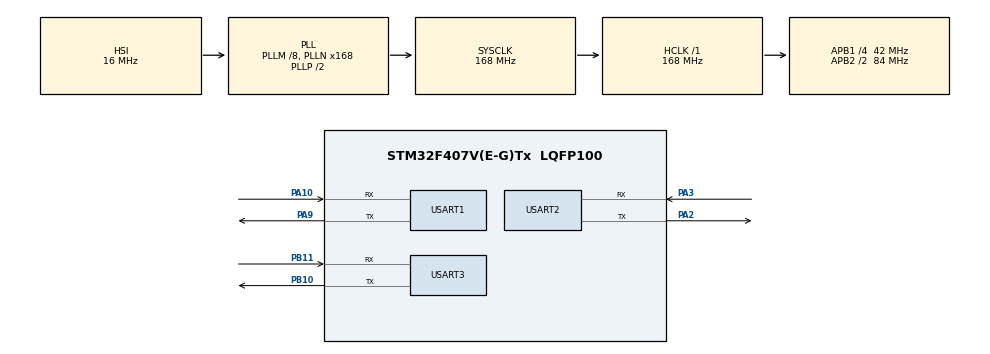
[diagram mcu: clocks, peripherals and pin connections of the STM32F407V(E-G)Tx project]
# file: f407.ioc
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Dma.Request0=USART3_RX
Dma.Request1=USART3_TX
Dma.Request2=USART1_RX
Dma.Request3=USART1_TX
Dma.USART1_RX.2.Direction=DMA_PERIPH_TO_MEMORY
Dma.USART1_RX.2.FIFOMode=DMA_FIFOMODE_DISABLE
Dma.USART1_RX.2.Instance=DMA2_Stream2
Dma.USART1_RX.2.MemDataAlignment=DMA_MDATAALIGN_BYTE
Dma.USART1_RX.2.MemInc=DMA_MINC_ENABLE
Dma.USART1_RX.2.Mode=DMA_NORMAL
Dma.USART1_RX.2.PeriphDataAlignment=DMA_PDATAALIGN_BYTE
Dma.USART1_RX.2.PeriphInc=DMA_PINC_DISABLE
Dma.USART1_RX.2.Priority=DMA_PRIORITY_LOW
Dma.USART1_TX.3.Direction=DMA_MEMORY_TO_PERIPH
Dma.USART1_TX.3.FIFOMode=DMA_FIFOMODE_DISABLE
Dma.USART1_TX.3.Instance=DMA2_Stream7
Dma.USART1_TX.3.MemDataAlignment=DMA_MDATAALIGN_BYTE
Dma.USART1_TX.3.MemInc=DMA_MINC_ENABLE
Dma.USART1_TX.3.Mode=DMA_NORMAL
Dma.USART1_TX.3.PeriphDataAlignment=DMA_PDATAALIGN_BYTE
Dma.USART1_TX.3.PeriphInc=DMA_PINC_DISABLE
Dma.USART1_TX.3.Priority=DMA_PRIORITY_LOW
Dma.USART3_RX.0.Direction=DMA_PERIPH_TO_MEMORY
Dma.USART3_RX.0.FIFOMode=DMA_FIFOMODE_DISABLE
Dma.USART3_RX.0.Instance=DMA1_Stream1
Dma.USART3_RX.0.MemDataAlignment=DMA_MDATAALIGN_BYTE
Dma.USART3_RX.0.MemInc=DMA_MINC_ENABLE
Dma.USART3_RX.0.Mode=DMA_CIRCULAR
Dma.USART3_RX.0.PeriphDataAlignment=DMA_PDATAALIGN_BYTE
Dma.USART3_RX.0.PeriphInc=DMA_PINC_DISABLE
Dma.USART3_RX.0.Priority=DMA_PRIORITY_HIGH
Dma.USART3_TX.1.Direction=DMA_MEMORY_TO_PERIPH
Dma.USART3_TX.1.FIFOMode=DMA_FIFOMODE_DISABLE
Dma.USART3_TX.1.Instance=DMA1_Stream3
Dma.USART3_TX.1.MemDataAlignment=DMA_MDATAALIGN_BYTE
Dma.USART3_TX.1.MemInc=DMA_MINC_ENABLE
Dma.USART3_TX.1.Mode=DMA_NORMAL
Dma.USART3_TX.1.PeriphDataAlignment=DMA_PDATAALIGN_BYTE
Dma.USART3_TX.1.PeriphInc=DMA_PINC_DISABLE
Dma.USART3_TX.1.Priority=DMA_PRIORITY_HIGH
Mcu.Family=STM32F4
Mcu.Name=STM32F407V(E-G)Tx
Mcu.Package=LQFP100
NVIC.DMA1_Stream1_IRQn=true\:0\:0\:false\:false\:true\:false\:true\:true
NVIC.DMA1_Stream3_IRQn=true\:0\:0\:false\:false\:true\:false\:true\:true
NVIC.DMA2_Stream2_IRQn=true\:0\:0\:false\:false\:true\:false\:true\:true
NVIC.DMA2_Stream7_IRQn=true\:0\:0\:false\:false\:true\:false\:true\:true
NVIC.PriorityGroup=NVIC_PRIORITYGROUP_4
NVIC.TIM6_DAC_IRQn=true\:0\:0\:false\:false\:true\:true\:true\:true
NVIC.USART1_IRQn=true\:0\:0\:false\:false\:true\:true\:true\:true
NVIC.USART3_IRQn=true\:0\:0\:false\:false\:true\:true\:true\:true
PA10.Mode=Asynchronous
PA10.Signal=USART1_RX
PA13.Mode=Serial_Wire
PA13.Signal=SYS_JTMS-SWDIO
PA14.Mode=Serial_Wire
PA14.Signal=SYS_JTCK-SWCLK
PA2.Mode=Asynchronous
PA2.Signal=USART2_TX
PA3.Mode=Asynchronous
PA3.Signal=USART2_RX
PA9.Mode=Asynchronous
PA9.Signal=USART1_TX
PB10.Mode=Asynchronous
PB10.Signal=USART3_TX
PB11.Mode=Asynchronous
PB11.Signal=USART3_RX
ProjectManager.HeapSize=0x200
ProjectManager.StackSize=0x400
ProjectManager.TargetToolchain=STM32CubeIDE
RCC.48MHZClocksFreq_Value=84000000
RCC.AHBFreq_Value=168000000
RCC.APB1CLKDivider=RCC_HCLK_DIV4
RCC.APB1Freq_Value=42000000
RCC.APB1TimFreq_Value=84000000
RCC.APB2CLKDivider=RCC_HCLK_DIV2
RCC.APB2Freq_Value=84000000
RCC.APB2TimFreq_Value=168000000
RCC.CortexFreq_Value=168000000
RCC.HCLKFreq_Value=168000000
RCC.HSE_VALUE=25000000
RCC.HSI_VALUE=16000000
RCC.LSE_VALUE=32768
RCC.PLLM=8
RCC.PLLN=168
RCC.SYSCLKFreq_VALUE=168000000
RCC.SYSCLKSource=RCC_SYSCLKSOURCE_PLLCLK
RCC.VCOOutputFreq_Value=336000000
TIM6.Period=10000-1
TIM6.Prescaler=84-1
USART1.VirtualMode=VM_ASYNC
USART2.VirtualMode=VM_ASYNC
USART3.VirtualMode=VM_ASYNC
VP_TIM6_VS_ClockSourceINT.Mode=Enable_Timer
board=custom

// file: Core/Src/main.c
/* USER CODE BEGIN Header */
/**
  ******************************************************************************
  * @file           : main.c
  * @brief          : Main program body
  ******************************************************************************
  * @attention
  *
  * Copyright (c) 2026 STMicroelectronics.
  * All rights reserved.
  *
  * This software is licensed under terms that can be found in the LICENSE file
  * in the root directory of this software component.
  * If no LICENSE file comes with this software, it is provided AS-IS.
  *
  ******************************************************************************
  */
/* USER CODE END Header */
#include "main.h"
#include "dma.h"
#include "tim.h"
#include "usart.h"
#include "gpio.h"

/* USER CODE BEGIN Includes */
#include <string.h>
#include <stdlib.h>
#include "vision_protocol.h"
#include "emm_v5.h"
#include "oled.h"
#include "ball_control.h"
/* USER CODE END Includes */

/* USER CODE BEGIN PD */
#define EMM_VEL_RPM         20U     /* 位置模式转速：20 RPM ≈ 1067 脉冲/s */
#define TARGET_TUBE_MM      0      /* 目标位置：0 = 管子中心（= K230 屏上的 0cm） */
#define VISION_MM_OFFSET    -117   /* 视觉读数补偿(mm)：CX = K230读数 + 这个值。
                                     * 2026-11-08 重新标零后，K230 屏上从 "1~25cm" 变成
                                     * "-12~+12cm"，但串口发出来的还是 0~240 的绝对量。
                                     * 减 120 之后，CX 就和 K230 屏上的数一一对应（单位 mm）：
                                     * 左端 -120、中心 0、右端 +120。
                                     * 实测：左端 CX 144、0处 260、右端 367（偏移 +144 时），
                                     * 反推原始值 0 / 116 / 223，减 120 即得上面的值。
                                     * 用 -120 时球在中间读 -3，再补 3 得到 -117，中间读 0。 */
#define MOTOR_ENABLE        1      /* 0=只看不动（先验数据）；1=真闭环 */
#define MOTOR_DIR_INVERT    0       /* 极性开关。目前实测：正命令 -> 球往 +mm 走，
                                     * 与 ball_control.c 里 PD 项的符号一致，所以保持 0。
                                     * 要反转极性只改这一个宏（或 ball_control.c 里
                                     * command 最后的符号），不要在中间偷偷取反。 */
#define VISION_TIMEOUT_MS   300U    /* 超过这么久没帧，就把平台放平 */
#define DEBUG_REFRESH_MS    200U    /* 调试刷屏周期(ms)，5 Hz */
#define MOTOR_CALIB         0       /* 1=标定模式：把当前姿态存成驱动器零点（只做一次） */
#define MOTOR_TEST_ANGLE    0       /* 非0=开环测试：忽略视觉，平台直接停到这个角度(脉冲，可负) */
#define MOTOR_SWEEP         0       /* 1=开环扫角：0→151→0→-151 循环，测满行程到底能不能把球推动 */
#define OLED_ENABLE         1       /* 0=关掉屏幕刷新（每次要阻塞 25ms，会拖慢控制）；1=开 */
/* USER CODE END PD */

/* USER CODE BEGIN PV */
static ballcontrol ctrl;                                /* 控制器全部状态，全局一份 */
static int32_t     current_angle_pulses = 0;            /* 已下发的绝对角度（脉冲） */
static float       target_tube_mm       = (float)TARGET_TUBE_MM; /* 目标位置(mm) */
/* 位置模式转速，上位机 MOTORRPM= 可在线改。
 * 20 RPM 时平台从 +120 转到 -120 要 4.6 秒，而球穿过整根管子只要 1.5 秒，
 * 刹车指令物理上来不及 —— 这是"怎么调都是极限环"的一个硬瓶颈。
 * 先给 60 RPM 试试（3200 脉冲/s），还嫌慢可以再往上加。 */
static float       host_motor_rpm       = 60.0f;
static uint32_t    last_frame_tick      = 0;            /* 最近一次收到有效帧的时刻 */
#if OLED_ENABLE
static uint32_t    debug_tick           = 0;            /* 调试刷屏计时 */
#endif
static uint32_t    vision_frames        = 0;            /* 已收帧数，用来判断 K230 通没通 */
static uint32_t    ctrl_frames          = 0;            /* 真正进了控制器的帧数，FPS 命令用它算控制频率 */
static bool        vision_lost          = true;         /* 是否已经进过超时保护 */
/* USER CODE END PV */

void SystemClock_Config(void);

/* USER CODE BEGIN 0 */
/* 把控制器算出的角度真正发给电机。
 * MOTOR_ENABLE=0 时只记账不发指令，方便先验数据：屏上的 A 仍然跟着算出的角度走，
 * 但电机不动，球不会飞出去。 */
static void Platform_MoveTo(int32_t angle)
{
    int32_t delta = angle - current_angle_pulses;

    if (delta == 0) return;

#if MOTOR_ENABLE
    /* 方向极性：正角度 = dir 0。上板推一下球就知道对不对：
     * 球被拉回来 -> 对的；球越跑越远 -> 把 MOTOR_DIR_INVERT 改成 1 */
    uint8_t dir = (delta > 0) ? 0U : 1U;
#if MOTOR_DIR_INVERT
    dir ^= 1U;
#endif

    uint16_t vel = (uint16_t)((host_motor_rpm < 1.0f) ? 1.0f : host_motor_rpm);
    Emm_V5_Pos_Control(EMM_ADDR, dir, vel, 0,
                       (uint32_t)((delta > 0) ? delta : -delta), false, false);
#endif

    current_angle_pulses = angle;
}

/* 调试显示：128x64 用 12x16 的字最多放 4 行，只挑最关键的 4 个量 */
#if OLED_ENABLE
static void Debug_UpdateDisplay(void)
{
    OLED_Clear();

    OLED_ShowString2x(0, 0, "CX");      /* 滤波后的球位置(mm)，控制用的就是它 */
    OLED_ShowNum2x(0, 48, (int32_t)ctrl.position, 4);

    OLED_ShowString2x(2, 0, "TG");      /* 目标位置(mm) */
    OLED_ShowNum2x(2, 48, (int32_t)target_tube_mm, 4);

    OLED_ShowString2x(4, 0, "A");       /* 控制器算出的平台角度（脉冲） */
    OLED_ShowNum2x(4, 48, current_angle_pulses, 4);

    OLED_ShowString2x(6, 0, "V");       /* 球速(mm/s)，调参时看这个判断是不是冲过头 */
    OLED_ShowNum2x(6, 48, (int32_t)ctrl.speed_filter, 4);

    OLED_Refresh();
}
#endif

#if MOTOR_CALIB
/* 把驱动器的应答翻译成一句人话：状态 0x02 = 成功，0xE2 = 条件不满足 */
static void Motor_ShowAck(const char *title, bool got_reply, uint8_t status)
{
    OLED_Clear();
    OLED_ShowString2x(0, 0, title);

    if (!got_reply)
    {
        OLED_ShowString2x(2, 0, "NO REPLY");
        OLED_ShowString2x(4, 0, "CHECK WIRE");
    }
    else if (status == 0x02U)
    {
        OLED_ShowString2x(2, 0, "OK");
    }
    else if (status == 0xE2U)
    {
        OLED_ShowString2x(2, 0, "FAILED");
        OLED_ShowString2x(4, 0, "COND FAIL");
    }
    else
    {
        OLED_ShowString2x(2, 0, "ERR CODE");
        OLED_ShowNum2x(4, 0, (int32_t)status, 3);
    }

    OLED_Refresh();
}
#endif

/* =====================================================================
 * 上位机调参链路（USART2，PA2=TX / PA3=RX，115200 8N1）
 * ---------------------------------------------------------------------
 * 接线：STM32 PA2 ──> USB-TTL 的 RX
 *       STM32 PA3 <── USB-TTL 的 TX
 *       GND      ────  GND（必须共地）
 *
 * 命令（一行一条，回车/换行结尾，不分大小写）：
 *   KP=0.8          改一个参数，立刻生效，不用重编译
 *   GET             打印全部参数
 *   RST             恢复上电默认值
 *   STREAM=0 / 1    关 / 开遥测（默认开）
 *   HELP            命令提示
 *
 * 遥测（每 50ms 一行）：
 *   POS,TG,ERR,ANG  —— 当前坐标 / 目标坐标 / 误差(mm) / 平台角度(脉冲÷100)
 * ===================================================================== */
#define HOST_TELEM_MS    50U
#define HOST_LINE_MAX    48U

static uint8_t       host_rx_byte;               /* 中断里收的单字节 */
static char          host_line[HOST_LINE_MAX];   /* 攒一整行 */
static uint8_t       host_len;
static volatile bool host_line_ready;
static bool          host_stream_on = true;      /* 遥测默认开 */
static uint32_t      host_telem_tick;

typedef struct { const char *name; float *p; } host_param_t;

static const host_param_t host_params[] =
{
    { "KP",       &ctrl_param.kp            },
    { "KV",       &ctrl_param.kv            },
    { "FRICTION", &ctrl_param.friction      },
    { "MAXSPEED", &ctrl_param.max_speed     },
    { "KI",       &ctrl_param.ki            },
    { "POSF",     &ctrl_param.pos_filter    },
    { "SPEEDF",   &ctrl_param.speed_filter  },
    { "ACCEL",    &ctrl_param.profile_accel },
    { "MAXMEAS",  &ctrl_param.max_measured  },
    { "V0",       &ctrl_param.friction_v0   },
    { "DEADBAND", &ctrl_param.deadband      },
    { "IMAX",     &ctrl_param.i_max         },
    { "ISPEED",   &ctrl_param.i_speed       },
    { "KICKMAX",  &ctrl_param.kick_max      },
    { "KICKRATE", &ctrl_param.kick_rate     },
    { "STUCKMS",  &ctrl_param.stuck_ms      },
    { "MOVEEPS",  &ctrl_param.move_eps      },
    { "LIMIT",    &ctrl_param.angle_limit   },
    { "MAXSTEP",  &ctrl_param.max_step      },
    { "LEVELOFF", &ctrl_param.level_offset  },
    /* ---- 省一参考控制器 ---- */
    { "MODE",     &ctrl_param.mode          },
    { "REFACC",   &ctrl_param.ref_accel     },
    { "BRAKEBST", &ctrl_param.brake_boost   },
    { "BRKEN",    &ctrl_param.brake_enter   },
    { "BRKEX",    &ctrl_param.brake_exit    },
    { "IZONE",    &ctrl_param.i_zone        },
    { "IZSPEED",  &ctrl_param.i_zone_speed  },
    { "CBAND",    &ctrl_param.center_band   },
    { "CSPEED",   &ctrl_param.center_speed  },
    { "XBAND",    &ctrl_param.settle_band   },
    { "XSPEED",   &ctrl_param.settle_speed  },
    { "OUTGAIN",  &ctrl_param.out_gain      },
    /* ---- 借鉴 2026-H-balance（默认全关）---- */
    { "KDL",      &ctrl_param.kdl           },
    { "KD2",      &ctrl_param.kd2           },
    { "ASYM",     &ctrl_param.asym          },
    { "PREA",     &ctrl_param.pre_angle     },
    { "PREMS",    &ctrl_param.pre_ms        },
    /* 电机位置模式转速(RPM)，不在 ctrl_param 里，单独一个变量 */
    { "MOTORRPM", &host_motor_rpm           },
    /* 目标位置(mm)，在线改，免得每次换目标都要重烧 */
    { "TARGET",   &target_tube_mm           },
};

#define HOST_PARAM_CNT  (sizeof(host_params) / sizeof(host_params[0]))

/* 遥测用阻塞发送。一行 25 字节 @115200 只要 2.2ms，占 50ms 周期的 4%，
 * 完全承受得起。
 *
 * 【曾经改成 HAL_UART_Transmit_IT 非阻塞，已经回退】当时怀疑主循环有
 * 100ms 级停顿是被阻塞遥测拖的，实测站不住脚：Emm_Send 最坏 30ms、
 * 遥测 2.2ms，加起来也凑不出 100ms。而中断发送一旦因溢出/错误丢掉完成
 * 回调，huart2.gState 会永远卡在 BUSY_TX，之后连 HAL_UART_Transmit 的
 * 命令应答都直接返回 HAL_BUSY——整块板子对上位机"变哑"。为了 2ms 冒
 * 断链的险不值得。 */
static char host_telem_buf[80];

static void Host_Send(const char *s)
{
    HAL_UART_Transmit(&huart2, (uint8_t *)s, (uint16_t)strlen(s), 20);
}

/* 发 "标签+十进制有符号数+CRLF"，给 FPS / POS 这类诊断命令用 */
static void Host_SendUInt(const char *tag, int32_t v)
{
    char b[32];
    char tmp[12];
    int  n = 0;
    int  i = 0;

    while (tag[i] != '\0' && i < 16) b[i] = tag[i], i++;

    if (v < 0)
    {
        b[i++] = '-';
        /* 取绝对值。注意 INT32_MIN 直接取负会溢出，先转成 uint32 再取负 */
        v = (int32_t)(0U - (uint32_t)v);
    }

    if (v == 0) tmp[n++] = '0';
    while (v > 0) { tmp[n++] = (char)('0' + (v % 10)); v /= 10; }
    while (n > 0 && i < 28) b[i++] = tmp[--n];

    b[i++] = '\r';
    b[i++] = '\n';
    b[i]   = '\0';
    Host_Send(b);
}

/* 【必须实现】串口一旦出现溢出(ORE)/噪声/帧错误，HAL 会在中断里主动把
 * 接收给关掉（UART_EndRxTransfer），之后板子就再也收不到任何命令了——
 * 现象就是"上电好好的，跑着跑着发 GET 没反应，必须按复位"。
 * 这里在错误回调里重新挂上接收，链路自己恢复。 */
void HAL_UART_ErrorCallback(UART_HandleTypeDef *huart)
{
    if (huart->Instance == USART2)
    {
        host_len = 0;
        __HAL_UART_CLEAR_OREFLAG(huart);
        HAL_UART_Receive_IT(&huart2, &host_rx_byte, 1);
    }
}

/* newlib-nano 的 printf 默认不带浮点支持，直接 %f 会链接失败或输出垃圾。
 * 这里手写格式化：整数 + 两位小数，看曲线足够。 */
static void Host_FmtFloat(char **p, float v)
{
    char     tmp[10];
    int      n = 0;
    int32_t  whole;
    int32_t  frac;

    if (v < 0.0f) { *(*p)++ = '-'; v = -v; }

    whole = (int32_t)v;
    frac  = (int32_t)((v - (float)whole) * 100.0f + 0.5f);
    if (frac > 99) frac = 99;

    if (whole == 0) tmp[n++] = '0';
    while (whole > 0) { tmp[n++] = (char)('0' + (whole % 10)); whole /= 10; }
    while (n > 0)     { *(*p)++ = tmp[--n]; }

    *(*p)++ = '.';
    *(*p)++ = (char)('0' + (frac / 10));
    *(*p)++ = (char)('0' + (frac % 10));
}

/* 一行遥测：POS,TG,ERR,ANG\n
 *
 *   I0 = 当前坐标 mm    (绝对位置，球实际在哪)
 *   I1 = 目标坐标 mm    (固定 120)
 *   I2 = 误差 mm        (I0 - I1)
 *   I3 = 平台角度       (脉冲 / 100，350 -> 3.50)
 *
 * 【VOFA+ 要开两张图】
 *   图A 只开 I0 + I1  -> Y 轴拖到 100~140，看球到没到目标线
 *   图B 只开 I2       -> 默认 -5~5 不用调，调参主要看这张
 */
static void Host_SendTelemetry(void)
{
    char *p = host_telem_buf;

    Host_FmtFloat(&p, ctrl.position);                         *p++ = ',';
    Host_FmtFloat(&p, target_tube_mm);                        *p++ = ',';
    Host_FmtFloat(&p, ctrl.position - target_tube_mm);        *p++ = ',';
    Host_FmtFloat(&p, (float)current_angle_pulses / 100.0f);  *p++ = '\n';

    HAL_UART_Transmit(&huart2, (uint8_t *)host_telem_buf,
                      (uint16_t)(p - host_telem_buf), 20);
}

static void Host_SendOneParam(uint8_t i)
{
    char        buf[40];
    char       *p = buf;
    const char *n = host_params[i].name;

    while (*n) *p++ = *n++;
    *p++ = '=';
    Host_FmtFloat(&p, *(host_params[i].p));
    *p++ = '\r'; *p++ = '\n';
    *p   = '\0';

    Host_Send(buf);
}

static void Host_ExecLine(char *s)
{
    char    *eq;
    uint8_t  i;

    /* 命令不分大小写 */
    for (i = 0; s[i] != '\0'; i++)
    {
        if (s[i] >= 'a' && s[i] <= 'z') s[i] = (char)(s[i] - 32);
    }

    if (strcmp(s, "GET") == 0)
    {
        for (i = 0; i < HOST_PARAM_CNT; i++) Host_SendOneParam(i);
        return;
    }
    if (strcmp(s, "HELP") == 0 || strcmp(s, "?") == 0)
    {
        Host_Send("NAME=VALUE | GET | RST | STREAM=0/1\r\n");
        return;
    }
    if (strcmp(s, "RST") == 0)
    {
        CtrlParam_Default();
        Host_Send("OK RST\r\n");
        return;
    }
    if (strcmp(s, "FPS") == 0)
    {
        /* 累计控制帧数。上位机隔一段时间问两次，差/时间就是真实控制频率。
         * 这个值决定了抖动能开到多快——控制帧跟不上，抖动就只是原地嗡嗡。 */
        Host_SendUInt("FPS=", (int32_t)ctrl_frames);
        return;
    }
    if (strcmp(s, "POS") == 0)
    {
        /* 驱动器里的真实位置 vs 程序自己记的角度。
         * 这两个数一旦对不上，就说明电机在失步——程序以为平台在动，
         * 实际它顶在机械限位上，之后所有控制都是假的。 */
        int32_t cpos = 0;
        bool    ok   = Emm_V5_Read_CPos(&cpos);

        Host_SendUInt("CPOS=", ok ? cpos : -99999);
        Host_SendUInt("ANG=",  current_angle_pulses);
        return;
    }
    if (strcmp(s, "DBG") == 0)
    {
        /* 读位置失败时，把驱动器原始应答整个倒出来看看：
         * 是没回、回了但不是 0x1F/0x2F、还是长度不对。 */
        uint8_t i;

        (void)Emm_V5_WaitAck(5);            /* 先清掉可能的残留帧 */
        Emm_V5_Read_Sys_Params(EMM_ADDR, S_CPOS);

        if (!Emm_V5_WaitAck(120)) { Host_Send("DBG TIMEOUT\r\n"); return; }

        Host_SendUInt("LEN=", (int32_t)emm_rx_len);
        for (i = 0; i < emm_rx_len && i < 12U; i++)
        {
            Host_SendUInt("B=", (int32_t)emm_rx_buf[i]);
        }
        return;
    }

    eq = strchr(s, '=');
    if (eq == NULL) { Host_Send("ERR SYNTAX\r\n"); return; }
    *eq = '\0';

    if (strcmp(s, "Q") == 0)
    {
        /* Q=54 -> 发命令码 0x36 并倒出驱动器应答。
         * 驱动器对不认识的命令会回 01 00 EE 6B，试码不用再烧固件。 */
        uint8_t i;
        uint8_t code = (uint8_t)atoi(eq + 1);

        (void)Emm_V5_WaitAck(5);
        Emm_V5_Raw(code);

        if (!Emm_V5_WaitAck(150)) { Host_Send("Q TIMEOUT\r\n"); return; }

        Host_SendUInt("LEN=", (int32_t)emm_rx_len);
        for (i = 0; i < emm_rx_len && i < 12U; i++)
        {
            Host_SendUInt("B=", (int32_t)emm_rx_buf[i]);
        }
        return;
    }

    if (strcmp(s, "STREAM") == 0)
    {
        host_stream_on = (atof(eq + 1) != 0.0);
        Host_Send(host_stream_on ? "OK STREAM=1\r\n" : "OK STREAM=0\r\n");
        return;
    }

    for (i = 0; i < HOST_PARAM_CNT; i++)
    {
        if (strcmp(s, host_params[i].name) == 0)
        {
            *(host_params[i].p) = (float)atof(eq + 1);
            Host_SendOneParam(i);
            return;
        }
    }

    Host_Send("ERR NAME\r\n");
}

/* HAL 的接收完成回调：每收一个字节进一次，攒够一行就置标志 */
void HAL_UART_RxCpltCallback(UART_HandleTypeDef *huart)
{
    if (huart->Instance == USART2)
    {
        char c = (char)host_rx_byte;

        if (c == '\r' || c == '\n')
        {
            /* 上一条还没被主循环取走，就直接覆盖：调参时以最新的命令为准，
             * 绝不能丢——丢了就会以为参数下发了，其实没生效。
             * 主循环取走时是关中断拷贝，不会读到半截。 */
            if (host_len > 0)
            {
                host_line[host_len] = '\0';
                host_line_ready     = true;
            }
            host_len = 0;
        }
        else if (host_len < (HOST_LINE_MAX - 1))
        {
            host_line[host_len++] = c;
        }
        else
        {
            host_len = 0;           /* 这行太长，整行丢掉 */
        }

        HAL_UART_Receive_IT(&huart2, &host_rx_byte, 1);
    }
}

static void Host_Init(void)
{
    host_len        = 0;
    host_line_ready = false;
    host_telem_tick = HAL_GetTick();

    HAL_UART_Receive_IT(&huart2, &host_rx_byte, 1);
    /* 【注意】这里不要发欢迎语。VOFA+ 的 FireWater 是按"第一帧"来定通道数的，
     * 一条不含逗号的文本会被当成 1 通道，后面 4 通道的遥测就全乱了。
     * 想确认链路通不通，发一个 HELP 看回显就行。 */
}
/* USER CODE END 0 */

int main(void)
{

  /* MCU Configuration--------------------------------------------------------*/

  /* Reset of all peripherals, Initializes the Flash interface and the Systick. */
  HAL_Init();

  /* Configure the system clock */
  SystemClock_Config();

  /* Initialize all configured peripherals */
  MX_GPIO_Init();
  MX_DMA_Init();
  MX_USART2_UART_Init();
  MX_USART3_UART_Init();
  MX_TIM6_Init();
  MX_USART1_UART_Init();
  /* USER CODE BEGIN 2 */
  Vision_UART_Init();      /* USART1：K230 视觉帧（DMA + IDLE） */
  Emm_V5_Rx_Init();        /* USART3：驱动器应答（DMA + IDLE） */
  OLED_Init();             /* PB6/PB7 软件 I2C */

  /* ---- 1. 确认驱动器在线：读一次总线电压 ----
   * 【不能再 while(1) 死等】以前收不到应答就永久停在这里，连 USART2 遥测
   * 也一起没了，从电脑上看就是"板子彻底死了、一个字节都不回"，根本分不清
   * 是驱动器没供电还是 MCU 崩了。现在改成：边报警边重试，串口保持活着，
   * 上位机能一直看到 WARN EMM NO ACK，OLED 上也照常显示。 */
  (void)Emm_V5_WaitAck(20);                  /* 清掉可能残留的应答 */
  Emm_V5_Read_Sys_Params(EMM_ADDR, S_VBUS);
  {
      uint32_t warn_tick = HAL_GetTick();
      uint32_t wait_t0   = HAL_GetTick();

      /* 最多等 10 秒。等不到也继续往下跑：电机不动，但视觉和控制照常运算，
       * 上位机能看到 POS/ERR 在变，就能立刻区分"驱动器坏了"和"整块板子死了"。 */
      while (!Emm_V5_WaitAck(50) && (HAL_GetTick() - wait_t0) < 10000U)
      {
          if ((HAL_GetTick() - warn_tick) >= 500U)   /* 每 0.5s 报一次，别刷屏 */
          {
              warn_tick = HAL_GetTick();
              Host_Send("WARN EMM NO ACK\r\n");

              OLED_Clear();
              OLED_ShowString2x(0, 0, "EMM NO ACK");
              OLED_ShowString2x(2, 0, "USART3");
              OLED_ShowString2x(4, 0, "CHECK WIRE");
              OLED_Refresh();
          }
          Emm_V5_Read_Sys_Params(EMM_ADDR, S_VBUS);
      }
  }
  OLED_Clear();
  OLED_Refresh();

#if MOTOR_CALIB
  /* ---- 标定模式：把平台此刻的姿态存成驱动器零点（只做一次）----
   * 用法：断电 → 用手把平台摆到你要的水平位 → 上电 → 屏显 ZERO SAVED → 断电
   *      然后把 MOTOR_CALIB 改回 0 重新烧录 */
  (void)Emm_V5_WaitAck(20);
  Emm_V5_En_Control(EMM_ADDR, true, false);
  HAL_Delay(200);

  (void)Emm_V5_WaitAck(20);
  Emm_V5_Origin_Set_O(EMM_ADDR, true);      /* svF=true：写进驱动器，掉电不丢 */
  {
      bool    got = Emm_V5_WaitAck(500);
      uint8_t st  = (got && emm_rx_len >= 3U) ? (uint8_t)emm_rx_buf[2] : 0U;
      Motor_ShowAck("SAVE ZERO", got, st);
  }
  HAL_Delay(4000);

  OLED_Clear();
  OLED_ShowString2x(0, 0, "ZERO SAVED");
  OLED_ShowString2x(2, 0, "POWER OFF");
  OLED_ShowString2x(4, 0, "NOW");
  OLED_ShowString2x(6, 0, "CALIB=0");
  OLED_Refresh();
  while (1) { }
#endif

  /* ---- 2. 使能 ---- */
  (void)Emm_V5_WaitAck(20);
  Emm_V5_En_Control(EMM_ADDR, true, false);
  HAL_Delay(200);

  /* ---- 3. 上电回零：让平台回到机械零点，之后所有角度都以它为基准 ---- */
  (void)Emm_V5_WaitAck(20);
  Emm_V5_Origin_Trigger_Return(EMM_ADDR, 0, false);
  HAL_Delay(3000);                           /* 等回零走完，时长按机械行程量一下 */

  /* ---- 4. 回零后的位置记作 0° ---- */
  (void)Emm_V5_WaitAck(20);
  Emm_V5_Reset_CurPos_To_Zero(EMM_ADDR);
  HAL_Delay(50);

#if MOTOR_TEST_ANGLE != 0
  /* ---- 开环测试：平台固定到这个角度，不跑控制 ----
   * 用来单独确认“电机到底动没动”，跟视觉和参数全都无关。
   * 球放中间，上电后看球往哪边滚、滚不滚得动，然后断电改数值重烧。 */
  Platform_MoveTo((int32_t)(MOTOR_TEST_ANGLE));
  OLED_Clear();
  OLED_ShowString2x(0, 0, "OPEN LOOP");
  OLED_ShowNum2x(2, 0, (int32_t)(MOTOR_TEST_ANGLE), 4);
  OLED_Refresh();
  while (1) { }
#endif

#if MOTOR_SWEEP
  /* ---- 开环扫角：只用来看“平台到底动没动”，跟视觉和参数全都无关 ----
   * 屏上 OPEN 后面就是此刻命令的角度，每 2.5 秒换一个：
   *     0 → 76 → 151 → 0 → -76 → -151 → 循环
   * 盯着平台看，记下【命令到多少的时候平台开始真的抬起/放下】。
   * 如果一直到 151 都不动，就是驱动器/接线的问题；
   * 如果 0~76 之间有一段怎么变都平、然后突然抬起来，那段就是机械空程。 */
  {
      static const int32_t sweep[] = { 0, 151, 0, -151, 0 };
      uint32_t i;

      while (1)
      {
          for (i = 0; i < (sizeof(sweep) / sizeof(sweep[0])); i++)
          {
              uint32_t t0;
              Platform_MoveTo(sweep[i]);
              t0 = HAL_GetTick();

              while ((HAL_GetTick() - t0) < 4000U)
              {
                  OLED_Clear();
                  OLED_ShowString2x(0, 0, "OPEN");
                  OLED_ShowNum2x(0, 60, sweep[i], 4);
                  OLED_ShowString2x(2, 0, "M");
                  OLED_ShowNum2x(2, 48, Motor_ReadPos(), 4);
                  OLED_Refresh();
                  HAL_Delay(200);
              }
          }
      }
  }
#endif

  /* ---- 5. 控制层复位：和电机零点对齐 ---- */
  CtrlParam_Default();          /* 装载参数默认值（之后可由上位机在线改） */
  Host_Init();                  /* 打开 USART2 上位机链路 */
  current_angle_pulses = 0;
  last_frame_tick      = HAL_GetTick();
  BallControl_Init(&ctrl);
  /* USER CODE END 2 */

  /* Infinite loop */
  while (1)
  {

    /* USER CODE BEGIN 3 */
    uint32_t now = HAL_GetTick();

    /* ============= 1. 每收到一帧视觉数据跑一次控制 ============= */
    if (vision_frame_ready)
    {
        /* 帧在中断里写、主循环里读，拷贝时关一下中断，避免读到半帧 */
        __disable_irq();
        VisionFrame_t frame = vision_frame;
        vision_frame_ready  = false;
        __enable_irq();

        vision_frames++;    /* 只要收到一行就 +1，用来判断链路通没通 */

        /* tube_mm < 0 = 抓到了球但没算出管子坐标，这一帧不能用来控制 */
        if (frame.type == VISION_BASIC && frame.data.basic.tube_mm >= 0)
        {
            last_frame_tick = now;
            /* 注意参数顺序：目标在前、实测在后，都用毫米。
             * 实测值先加上视觉补偿，之后控制器里比较的就是真实位置了，
             * 屏上的 CX 显示的也是补偿后的值。 */
            int32_t desired = BallControl_Update(&ctrl,
                                                 target_tube_mm,
                                                 (float)(frame.data.basic.tube_mm
                                                         + VISION_MM_OFFSET),
                                                 now);
            ctrl_frames++;
            Platform_MoveTo(desired);
        }
    }

    /* ============= 2. 通信超时：长时间没帧就把平台放平，别拿过期坐标乱跑 ============= */
    if ((now - last_frame_tick) > VISION_TIMEOUT_MS)
    {
        if (!vision_lost)
        {
            vision_lost = true;
            BallControl_Reset(&ctrl);   /* 丢掉旧的 dt/位置，来帧后重新对齐 */
            /* 回水平 = 回到 LEVEL_OFFSET，不是 0 —— 0 只是编码器零点，
             * 平台真正水平的那个角度是 LEVEL_OFFSET。 */
            Platform_MoveTo((int32_t)ctrl_param.level_offset);
        }
    }
    else
    {
        vision_lost = false;
    }

    /* ============= 3. 上位机：执行命令 + 发遥测 =============
     * 【必须先把整行拷走再解析】Host_ExecLine 里每回一个应答都要
     * HAL_UART_Transmit 阻塞十几毫秒，这期间接收中断照常往 host_line
     * 里写下一条命令。以前是先清 host_line_ready 再把 host_line 传进去，
     * 于是解析到一半缓冲区被改掉，就读成了“别的参数名 + 别的数值”，
     * 表现为参数莫名其妙变成怪值（比如 DEADBAND 从 6 变成 60）。
     * 现在关中断拷一份出来，中断再改也不影响这次解析。 */
    if (host_line_ready)
    {
        static char cmd_buf[HOST_LINE_MAX];

        __disable_irq();
        strcpy(cmd_buf, host_line);
        host_line_ready = false;
        host_len        = 0;
        __enable_irq();

        Host_ExecLine(cmd_buf);
    }

    if (host_stream_on && (now - host_telem_tick) >= HOST_TELEM_MS)
    {
        host_telem_tick = now;
        Host_SendTelemetry();
    }

    /* ============= 4. 调试显示（阻塞约 20~30ms，OLED_ENABLE=0 时跳过） ============= */
#if OLED_ENABLE
    if ((now - debug_tick) >= DEBUG_REFRESH_MS)
    {
        debug_tick = now;
        Debug_UpdateDisplay();
    }
#endif
  }
  /* USER CODE END 3 */
}

void SystemClock_Config(void)
{
  RCC_OscInitTypeDef RCC_OscInitStruct = {0};
  RCC_ClkInitTypeDef RCC_ClkInitStruct = {0};

  /** Configure the main internal regulator output voltage
  */
  __HAL_RCC_PWR_CLK_ENABLE();
  __HAL_PWR_VOLTAGESCALING_CONFIG(PWR_REGULATOR_VOLTAGE_SCALE1);

  /** Initializes the RCC Oscillators according to the specified parameters
  * in the RCC_OscInitTypeDef structure.
  */
  RCC_OscInitStruct.OscillatorType = RCC_OSCILLATORTYPE_HSI;
  RCC_OscInitStruct.HSIState = RCC_HSI_ON;
  RCC_OscInitStruct.HSICalibrationValue = RCC_HSICALIBRATION_DEFAULT;
  RCC_OscInitStruct.PLL.PLLState = RCC_PLL_ON;
  RCC_OscInitStruct.PLL.PLLSource = RCC_PLLSOURCE_HSI;
  RCC_OscInitStruct.PLL.PLLM = 8;
  RCC_OscInitStruct.PLL.PLLN = 168;
  RCC_OscInitStruct.PLL.PLLP = RCC_PLLP_DIV2;
  RCC_OscInitStruct.PLL.PLLQ = 4;
  if (HAL_RCC_OscConfig(&RCC_OscInitStruct) != HAL_OK)
  {
    Error_Handler();
  }

  /** Initializes the CPU, AHB and APB buses clocks
  */
  RCC_ClkInitStruct.ClockType = RCC_CLOCKTYPE_HCLK|RCC_CLOCKTYPE_SYSCLK
                              |RCC_CLOCKTYPE_PCLK1|RCC_CLOCKTYPE_PCLK2;
  RCC_ClkInitStruct.SYSCLKSource = RCC_SYSCLKSOURCE_PLLCLK;
  RCC_ClkInitStruct.AHBCLKDivider = RCC_SYSCLK_DIV1;
  RCC_ClkInitStruct.APB1CLKDivider = RCC_HCLK_DIV4;
  RCC_ClkInitStruct.APB2CLKDivider = RCC_HCLK_DIV2;

  if (HAL_RCC_ClockConfig(&RCC_ClkInitStruct, FLASH_LATENCY_5) != HAL_OK)
  {
    Error_Handler();
  }
}

void Error_Handler(void)
{
  __disable_irq();
  while (1)
  {
  }
}
